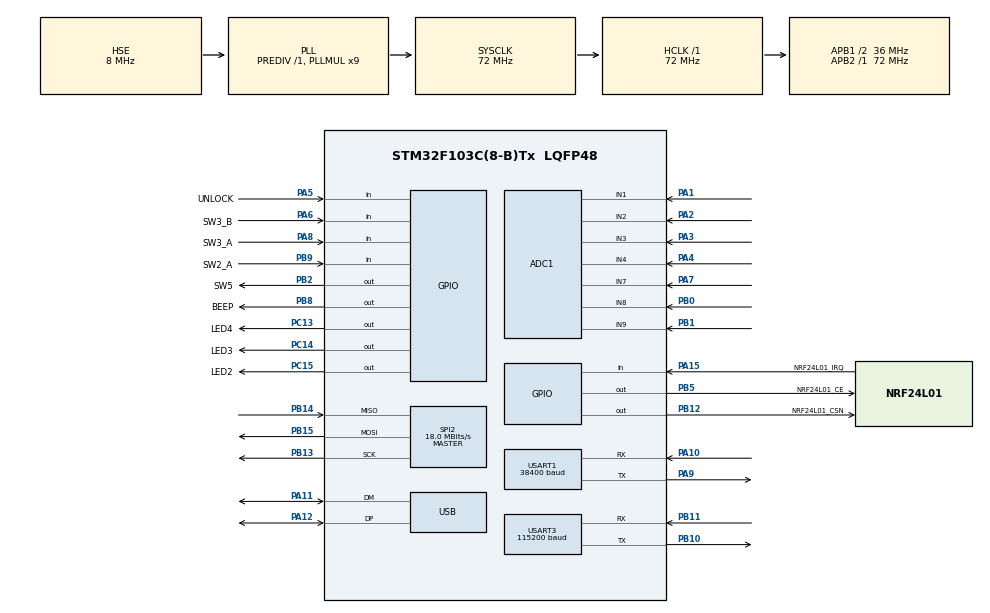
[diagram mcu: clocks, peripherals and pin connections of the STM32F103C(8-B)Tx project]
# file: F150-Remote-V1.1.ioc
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ADC1.Channel-0\#ChannelRegularConversion=ADC_CHANNEL_1
ADC1.Channel-1\#ChannelRegularConversion=ADC_CHANNEL_2
ADC1.Channel-2\#ChannelRegularConversion=ADC_CHANNEL_9
ADC1.Channel-3\#ChannelRegularConversion=ADC_CHANNEL_8
ADC1.Channel-4\#ChannelRegularConversion=ADC_CHANNEL_3
ADC1.Channel-5\#ChannelRegularConversion=ADC_CHANNEL_4
ADC1.Channel-6\#ChannelRegularConversion=ADC_CHANNEL_7
ADC1.ContinuousConvMode=DISABLE
ADC1.DataAlign=ADC_DATAALIGN_RIGHT
ADC1.DiscontinuousConvMode=ENABLE
ADC1.EnableAnalogWatchDog=false
ADC1.EnableRegularConversion=ENABLE
ADC1.ExternalTrigConv=ADC_SOFTWARE_START
ADC1.InjNumberOfConversion=0
ADC1.NbrOfConversion=7
ADC1.NbrOfConversionFlag=1
ADC1.NbrOfDiscConversion=1
ADC1.Rank-0\#ChannelRegularConversion=1
ADC1.Rank-1\#ChannelRegularConversion=2
ADC1.Rank-2\#ChannelRegularConversion=3
ADC1.Rank-3\#ChannelRegularConversion=4
ADC1.Rank-4\#ChannelRegularConversion=5
ADC1.Rank-5\#ChannelRegularConversion=6
ADC1.Rank-6\#ChannelRegularConversion=7
ADC1.SamplingTime-0\#ChannelRegularConversion=ADC_SAMPLETIME_13CYCLES_5
ADC1.SamplingTime-1\#ChannelRegularConversion=ADC_SAMPLETIME_13CYCLES_5
ADC1.SamplingTime-2\#ChannelRegularConversion=ADC_SAMPLETIME_13CYCLES_5
ADC1.SamplingTime-3\#ChannelRegularConversion=ADC_SAMPLETIME_13CYCLES_5
ADC1.SamplingTime-4\#ChannelRegularConversion=ADC_SAMPLETIME_13CYCLES_5
ADC1.SamplingTime-5\#ChannelRegularConversion=ADC_SAMPLETIME_1CYCLE_5
ADC1.SamplingTime-6\#ChannelRegularConversion=ADC_SAMPLETIME_13CYCLES_5
ADC1.ScanConvMode=ADC_SCAN_ENABLE
ADC1.master=1
Mcu.Family=STM32F1
Mcu.Name=STM32F103C(8-B)Tx
Mcu.Package=LQFP48
NVIC.PriorityGroup=NVIC_PRIORITYGROUP_2
NVIC.TIM3_IRQn=true\:0\:0\:false\:false\:true\:true
NVIC.USART1_IRQn=true\:0\:1\:false\:false\:true\:true
NVIC.USART3_IRQn=true\:0\:2\:false\:false\:true\:true
NVIC.USB_LP_CAN1_RX0_IRQn=true\:0\:0\:false\:false\:true\:false
PA1.Signal=ADCx_IN1
PA10.Mode=Asynchronous
PA10.Signal=USART1_RX
PA11.Mode=Device
PA11.Signal=USB_DM
PA12.Mode=Device
PA12.Signal=USB_DP
PA13.Mode=Serial_Wire
PA13.Signal=SYS_JTMS-SWDIO
PA14.Mode=Serial_Wire
PA14.Signal=SYS_JTCK-SWCLK
PA15.GPIO_Label=NRF24L01_IRQ
PA15.GPIO_PuPd=GPIO_PULLUP
PA15.Signal=GPIO_Input
PA2.Signal=ADCx_IN2
PA3.Signal=ADCx_IN3
PA4.Signal=ADCx_IN4
PA5.GPIO_Label=UNLOCK
PA5.GPIO_PuPd=GPIO_PULLUP
PA5.Signal=GPIO_Input
PA6.GPIO_Label=SW3_B
PA6.GPIO_PuPd=GPIO_PULLUP
PA6.Signal=GPIO_Input
PA7.Signal=ADCx_IN7
PA8.GPIO_Label=SW3_A
PA8.Signal=GPIO_Input
PA9.Mode=Asynchronous
PA9.Signal=USART1_TX
PB0.Signal=ADCx_IN8
PB1.Signal=ADCx_IN9
PB10.Mode=Asynchronous
PB10.Signal=USART3_TX
PB11.Mode=Asynchronous
PB11.Signal=USART3_RX
PB12.GPIO_Label=NRF24L01_CSN
PB12.Signal=GPIO_Output
PB13.Mode=Full_Duplex_Master
PB13.Signal=SPI2_SCK
PB14.Mode=Full_Duplex_Master
PB14.Signal=SPI2_MISO
PB15.Mode=Full_Duplex_Master
PB15.Signal=SPI2_MOSI
PB2.GPIO_Label=SW5
PB2.Signal=GPIO_Output
PB5.GPIO_Label=NRF24L01_CE
PB5.Signal=GPIO_Output
PB8.GPIO_Label=BEEP
PB8.Signal=GPIO_Output
PB9.GPIO_Label=SW2_A
PB9.GPIO_PuPd=GPIO_PULLUP
PB9.Signal=GPIO_Input
PC13-TAMPER-RTC.GPIO_Label=LED4
PC13-TAMPER-RTC.Signal=GPIO_Output
PC14-OSC32_IN.GPIO_Label=LED3
PC14-OSC32_IN.Signal=GPIO_Output
PC15-OSC32_OUT.GPIO_Label=LED2
PC15-OSC32_OUT.Signal=GPIO_Output
PD0-OSC_IN.Mode=HSE-External-Oscillator
PD0-OSC_IN.Signal=RCC_OSC_IN
PD1-OSC_OUT.Mode=HSE-External-Oscillator
PD1-OSC_OUT.Signal=RCC_OSC_OUT
ProjectManager.HeapSize=0x200
ProjectManager.StackSize=0x400
ProjectManager.TargetToolchain=MDK-ARM V5
RCC.ADCPresc=RCC_ADCPCLK2_DIV6
RCC.AHBFreq_Value=72000000
RCC.APB1CLKDivider=RCC_HCLK_DIV2
RCC.APB1Freq_Value=36000000
RCC.APB1TimFreq_Value=72000000
RCC.APB2Freq_Value=72000000
RCC.APB2TimFreq_Value=72000000
RCC.HCLKFreq_Value=72000000
RCC.PLLMUL=RCC_PLL_MUL9
RCC.PLLSourceVirtual=RCC_PLLSOURCE_HSE
RCC.SYSCLKFreq_VALUE=72000000
RCC.SYSCLKSource=RCC_SYSCLKSOURCE_PLLCLK
RCC.USBFreq_Value=48000000
RCC.USBPrescaler=RCC_USBCLKSOURCE_PLL_DIV1_5
SH.ADCx_IN1.0=ADC1_IN1,IN1
SH.ADCx_IN2.0=ADC1_IN2,IN2
SH.ADCx_IN3.0=ADC1_IN3,IN3
SH.ADCx_IN4.0=ADC1_IN4,IN4
SH.ADCx_IN7.0=ADC1_IN7,IN7
SH.ADCx_IN8.0=ADC1_IN8,IN8
SH.ADCx_IN9.0=ADC1_IN9,IN9
SPI2.CalculateBaudRate=18.0 MBits/s
SPI2.Direction=SPI_DIRECTION_2LINES
SPI2.Mode=SPI_MODE_MASTER
SPI2.VirtualType=VM_MASTER
TIM2.Period=9
TIM2.Prescaler=7199
TIM3.Period=500
TIM3.Prescaler=7199
USART1.BaudRate=38400
USART1.VirtualMode=VM_ASYNC
USART3.BaudRate=115200
USART3.VirtualMode=VM_ASYNC
USB_DEVICE.CLASS_NAME_FS=CDC
USB_DEVICE.VirtualMode=Cdc
USB_DEVICE.VirtualModeFS=Cdc_FS
VP_TIM2_VS_ClockSourceINT.Mode=Internal
VP_TIM3_VS_ClockSourceINT.Mode=Internal
VP_USB_DEVICE_VS_USB_DEVICE_CDC_FS.Mode=CDC_FS
board=F150-Remote-V1.1

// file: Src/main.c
/**
  ******************************************************************************
  * @file           : main.c
  * @brief          : Main program body
  ******************************************************************************
  * This notice applies to any and all portions of this file
  * that are not between comment pairs USER CODE BEGIN and
  * USER CODE END. Other portions of this file, whether
  * inserted by the user or by software development tools
  * are owned by their respective copyright owners.
  *
  * Copyright (c) 2018 STMicroelectronics International N.V.
  * All rights reserved.
  *
  * Redistribution and use in source and binary forms, with or without
  * modification, are permitted, provided that the following conditions are met:
  *
  * 1. Redistribution of source code must retain the above copyright notice,
  *    this list of conditions and the following disclaimer.
  * 2. Redistributions in binary form must reproduce the above copyright notice,
  *    this list of conditions and the following disclaimer in the documentation
  *    and/or other materials provided with the distribution.
  * 3. Neither the name of STMicroelectronics nor the names of other
  *    contributors to this software may be used to endorse or promote products
  *    derived from this software without specific written permission.
  * 4. This software, including modifications and/or derivative works of this
  *    software, must execute solely and exclusively on microcontroller or
  *    microprocessor devices manufactured by or for STMicroelectronics.
  * 5. Redistribution and use of this software other than as permitted under
  *    this license is void and will automatically terminate your rights under
  *    this license.
  *
  * THIS SOFTWARE IS PROVIDED BY STMICROELECTRONICS AND CONTRIBUTORS "AS IS"
  * AND ANY EXPRESS, IMPLIED OR STATUTORY WARRANTIES, INCLUDING, BUT NOT
  * LIMITED TO, THE IMPLIED WARRANTIES OF MERCHANTABILITY, FITNESS FOR A
  * PARTICULAR PURPOSE AND NON-INFRINGEMENT OF THIRD PARTY INTELLECTUAL PROPERTY
  * RIGHTS ARE DISCLAIMED TO THE FULLEST EXTENT PERMITTED BY LAW. IN NO EVENT
  * SHALL STMICROELECTRONICS OR CONTRIBUTORS BE LIABLE FOR ANY DIRECT, INDIRECT,
  * INCIDENTAL, SPECIAL, EXEMPLARY, OR CONSEQUENTIAL DAMAGES (INCLUDING, BUT NOT
  * LIMITED TO, PROCUREMENT OF SUBSTITUTE GOODS OR SERVICES; LOSS OF USE, DATA,
  * OR PROFITS; OR BUSINESS INTERRUPTION) HOWEVER CAUSED AND ON ANY THEORY OF
  * LIABILITY, WHETHER IN CONTRACT, STRICT LIABILITY, OR TORT (INCLUDING
  * NEGLIGENCE OR OTHERWISE) ARISING IN ANY WAY OUT OF THE USE OF THIS SOFTWARE,
  * EVEN IF ADVISED OF THE POSSIBILITY OF SUCH DAMAGE.
  *
  ******************************************************************************
  */
#include "main.h"
#include "stm32f1xx_hal.h"
#include "adc.h"
#include "spi.h"
#include "tim.h"
#include "usart.h"
#include "usb_device.h"
#include "gpio.h"

/* USER CODE BEGIN Includes */
#include "sys.h"
#include "led.h"
#include "beep.h"
#include "control.h"
#include "ctrl_flash.h"
#include "flash_gzj.h"
#include "ppm.h"
#include "communication.h"
#include "nrf24l01.h"
#include "gcs.h"

//#include "ctrl_serial_graph.h"
/* USER CODE END Includes */

/* USER CODE BEGIN PV */
/* Private variables ---------------------------------------------------------*/
uint8_t Ver = 100;
extern uint8_t Rx_Buff[50];
/* USER CODE END PV */

void SystemClock_Config(void);

/* USER CODE BEGIN PFP */
/* Private function prototypes -----------------------------------------------*/

/* USER CODE END PFP */

/* USER CODE BEGIN 0 */
extern bool Send_Flag;
extern bool rx_enable;
TIM_HandleTypeDef htim1;
TIM_ClockConfigTypeDef sClockSourceConfig;
TIM_MasterConfigTypeDef sMasterConfig;
int out = 0,iner = 0;
/* USER CODE END 0 */

int main(void)
{

  /* MCU Configuration----------------------------------------------------------*/

  /* Reset of all peripherals, Initializes the Flash interface and the Systick. */
  HAL_Init();

  /* Configure the system clock */
  SystemClock_Config();

  /* Initialize all configured peripherals */
  MX_GPIO_Init();
  MX_USART1_UART_Init();
  MX_USART3_UART_Init();
  MX_ADC1_Init();
  MX_USB_DEVICE_Init();
  MX_SPI2_Init();
  MX_TIM2_Init();
  MX_TIM3_Init();
  /* USER CODE BEGIN 2 */
  HAL_TIM_Base_Start_IT(&htim3);
  ppm_init();
  HAL_UART_Receive_IT(&huart3, Rx_Buff, sizeof(Rx_Buff));

  BEEP_OFF;
  LED_POWER_OFF;
  LED_STU_OFF;
  KeyRCCalibration();

  NRF_Radio_Init();
  ppm_delay(100);
  /* USER CODE END 2 */

  /* Infinite loop */
  while (1)
  {

  /* USER CODE BEGIN 3 */
    update_info_to_gcs();
    NRF_Polling();
    if(Send_Flag)
    {
        Send_Flag = false;

        SW_control();
        LoadRCdata();

        update_gcs_HardwareInfo();
    }
    LED_STU_OFF;
    HAL_Delay(10);
  }
  /* USER CODE END 3 */

}

void SystemClock_Config(void)
{

  RCC_OscInitTypeDef RCC_OscInitStruct;
  RCC_ClkInitTypeDef RCC_ClkInitStruct;
  RCC_PeriphCLKInitTypeDef PeriphClkInit;

    /**Initializes the CPU, AHB and APB busses clocks
    */
  RCC_OscInitStruct.OscillatorType = RCC_OSCILLATORTYPE_HSE;
  RCC_OscInitStruct.HSEState = RCC_HSE_ON;
  RCC_OscInitStruct.HSEPredivValue = RCC_HSE_PREDIV_DIV1;
  RCC_OscInitStruct.HSIState = RCC_HSI_ON;
  RCC_OscInitStruct.PLL.PLLState = RCC_PLL_ON;
  RCC_OscInitStruct.PLL.PLLSource = RCC_PLLSOURCE_HSE;
  RCC_OscInitStruct.PLL.PLLMUL = RCC_PLL_MUL9;
  if (HAL_RCC_OscConfig(&RCC_OscInitStruct) != HAL_OK)
  {
    _Error_Handler(__FILE__, __LINE__);
  }

    /**Initializes the CPU, AHB and APB busses clocks
    */
  RCC_ClkInitStruct.ClockType = RCC_CLOCKTYPE_HCLK|RCC_CLOCKTYPE_SYSCLK
                              |RCC_CLOCKTYPE_PCLK1|RCC_CLOCKTYPE_PCLK2;
  RCC_ClkInitStruct.SYSCLKSource = RCC_SYSCLKSOURCE_PLLCLK;
  RCC_ClkInitStruct.AHBCLKDivider = RCC_SYSCLK_DIV1;
  RCC_ClkInitStruct.APB1CLKDivider = RCC_HCLK_DIV2;
  RCC_ClkInitStruct.APB2CLKDivider = RCC_HCLK_DIV1;

  if (HAL_RCC_ClockConfig(&RCC_ClkInitStruct, FLASH_LATENCY_2) != HAL_OK)
  {
    _Error_Handler(__FILE__, __LINE__);
  }

  PeriphClkInit.PeriphClockSelection = RCC_PERIPHCLK_ADC|RCC_PERIPHCLK_USB;
  PeriphClkInit.AdcClockSelection = RCC_ADCPCLK2_DIV6;
  PeriphClkInit.UsbClockSelection = RCC_USBCLKSOURCE_PLL_DIV1_5;
  if (HAL_RCCEx_PeriphCLKConfig(&PeriphClkInit) != HAL_OK)
  {
    _Error_Handler(__FILE__, __LINE__);
  }

    /**Configure the Systick interrupt time
    */
  HAL_SYSTICK_Config(HAL_RCC_GetHCLKFreq()/1000);

    /**Configure the Systick
    */
  HAL_SYSTICK_CLKSourceConfig(SYSTICK_CLKSOURCE_HCLK);

  /* SysTick_IRQn interrupt configuration */
  HAL_NVIC_SetPriority(SysTick_IRQn, 0, 0);
}

void _Error_Handler(char *file, int line)
{
  while(1)
  {
  }
}

/************************ (C) COPYRIGHT STMicroelectronics *****END OF FILE****/
